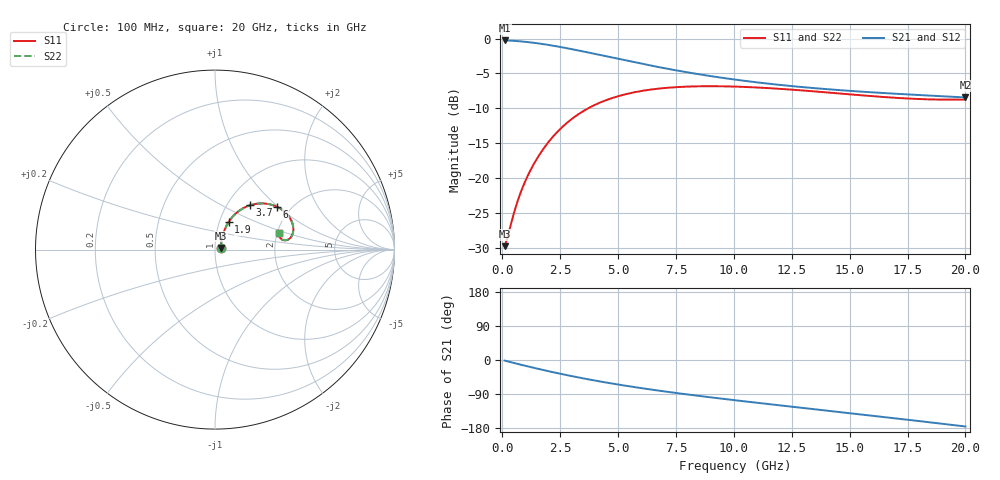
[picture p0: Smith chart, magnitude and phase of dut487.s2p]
! Touchstone file exported from HFSS 2024.1.0
!  File:  C:/UserFiles/LocalFiles/RDL_TSV_Batchsim/temp_RDL_TSV_487_1779734182.aedt
!  Generated:  02:50:29 AM May 26, 2026
!  Design:  RDL_TSV
!  Project:  temp_RDL_TSV_487_1779734182
!  Setup:  Setup1
!  Solution:  Sweep
! Variables:
!  dtsv = 8.09um
!  hbump = 3um
!  htsv = 51.81um
!  ldown = 659.1um
!  lrdl = 171.33um
!  p = 40
!  p1 = 54.86um
!  rhole = 10um
!  subl = 2662.62um
!  t = 450um
!  tdown = 2.23um
!  trdl = 2.02um
!  viad = 10um
!  wdown = 13.48um
!  wrdl = 14.25um
!  xbump = 18um
# GHz S MA R 50.000000
! Terminal data exported
! Port[1] = TM1_1_T1
! Port[2] = TM1_4_T1
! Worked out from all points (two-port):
!   200 points, 100 MHz to 20 GHz, reference 50 ohm
!   highest |S21| = -0.28 dB at 100 MHz (marker M1); lowest = -8.4 dB at 20 GHz (marker M2)
!   |S21| within 3 dB of the highest: start of sweep to 5.525 GHz
!   lowest |S11| = -29.8 dB at 100 MHz (marker M3), VSWR 1.07, Z = 53.2 + j0.946 ohm
!   |S11| at or under -10 dB: start of sweep to 3.71 GHz
!   |S22| runs from -29.8 to -6.8 dB; largest |S21 - S12| = 2.1e-14
!   S11 on the Smith chart (normalised r, x): 100 MHz: 1.06, +0.02; 1.9 GHz: 1.11, +0.35; 3.7 GHz: 1.27, +0.70; 6 GHz: 1.70, +0.98; 20 GHz: 2.04, +0.43
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0.1  0.03251 15.8  0.9686 -1.6  0.9686 -1.6  0.03251 15.8
! Gamma 0 0 0 0
! Port Impedance 50 0 50 0
0.2  0.03642 29.1  0.9678 -3.2  0.9678 -3.2  0.03642 29.1
0.6  0.06351 54.6  0.96 -9.4  0.96 -9.4  0.06351 54.6
0.9  0.08741 60.8  0.9507 -13.9  0.9507 -13.9  0.08741 60.8
1.1  0.1039 62.8  0.9432 -16.9  0.9432 -16.9  0.1039 62.8
1.4  0.1294 64.1  0.9302 -21.2  0.9302 -21.2  0.1294 64.1
1.9  0.1729 63.6  0.9049 -28.2  0.9049 -28.2  0.1729 63.6
2.6  0.233 60.0  0.8641 -37.5  0.8641 -37.5  0.233 60.0
3  0.2652 57.1  0.8392 -42.5  0.8392 -42.5  0.2651 57.1
3.5  0.302 53.2  0.8075 -48.5  0.8075 -48.5  0.302 53.2
3.7  0.3156 51.6  0.7948 -50.8  0.7948 -50.8  0.3156 51.6
4.7  0.3724 43.7  0.7329 -61.7  0.7329 -61.7  0.3723 43.7
6  0.4205 34.5  0.6606 -74.2  0.6606 -74.2  0.4205 34.5
6.8  0.4384 29.6  0.6219 -81.2  0.6219 -81.2  0.4383 29.6
8.3  0.454 22.0  0.5613 -93.3  0.5613 -93.3  0.454 22.0
10.1  0.4522 15.2  0.5065 -106.5  0.5065 -106.5  0.4521 15.2
11.7  0.4391 11.0  0.4706 -117.7  0.4706 -117.7  0.439 11.0
13.4  0.419 8.3  0.4421 -129.3  0.4421 -129.3  0.4188 8.3
15.1  0.3969 7.5  0.4206 -141.0  0.4206 -141.0  0.3967 7.5
16.7  0.3786 8.4  0.4047 -152.0  0.4047 -152.0  0.3785 8.5
18.4  0.3666 11.0  0.3904 -164.0  0.3904 -164.0  0.3664 11.1
20  0.3656 14.3  0.3782 -175.4  0.3782 -175.4  0.3654 14.4
